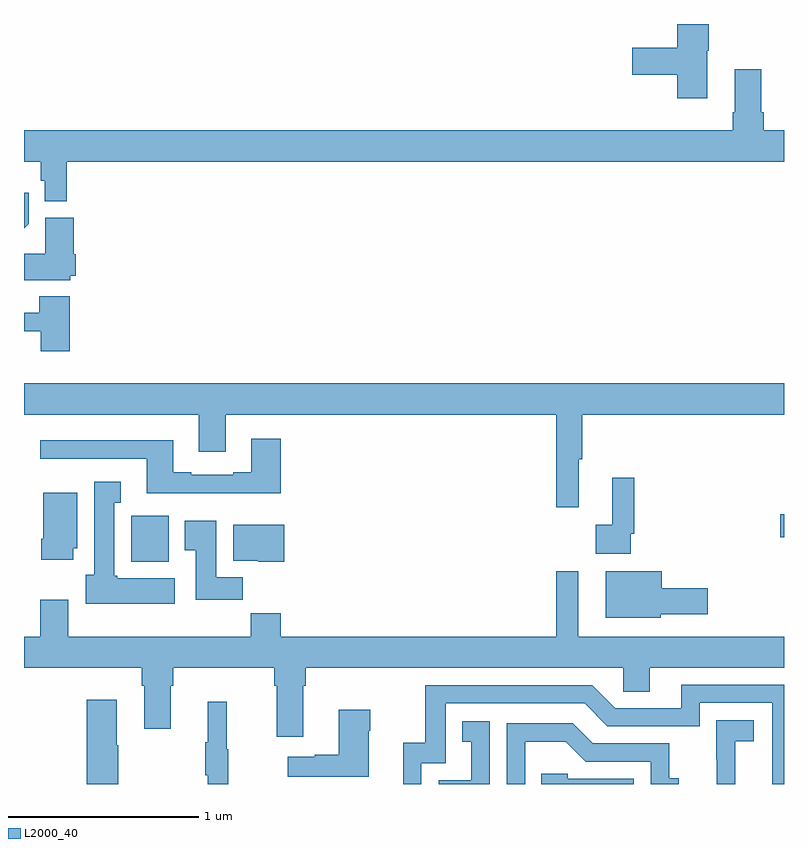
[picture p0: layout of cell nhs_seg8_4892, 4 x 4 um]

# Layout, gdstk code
import gdstk
lib = gdstk.Library(unit=1e-6, precision=1e-09)
def R(c, l, rs):  # rectangles x0, y0, x1, y1
    for r in rs: c.add(gdstk.rectangle(r[:2], r[2:], *l))
def P(c, l, *ps):  # polygons
    for p in ps: c.add(gdstk.Polygon(p, *l))
L2000_40 = (2000, 40)

nhs_seg8_4892 = lib.new_cell('nhs_seg8_4892')
R(nhs_seg8_4892, L2000_40, [(407.564,1105.07,407.761,1105.312), (410.979,1105.199,411,1105.321)])
P(nhs_seg8_4892, L2000_40, [(410.596,1107.759),(410.604,1107.759),(410.604,1107.9),(410.438,1107.9),(410.438,1107.776),(410.202,1107.776),(410.202,1107.634),(410.438,1107.634),(410.438,1107.51),(410.596,1107.51)],
  [(407.225,1107.176),(411,1107.176),(411,1107.34),(410.894,1107.34),(410.894,1107.436),(410.881,1107.436),(410.881,1107.661),(410.741,1107.661),(410.741,1107.436),(410.729,1107.436),(410.729,1107.34),(407,1107.34),(407,1107.176),(407.089,1107.176),(407.089,1107.075),(407.109,1107.075),(407.109,1106.966),(407.225,1106.966)],
  [(407.024,1106.85),(407.024,1107.013),(407,1107.013),(407,1106.826)],
  [(407.244,1106.574),(407.273,1106.574),(407.273,1106.688),(407.261,1106.688),(407.261,1106.881),(407.111,1106.881),(407.111,1106.69),(407,1106.69),(407,1106.552),(407.244,1106.552)],
  [(407.24,1106.467),(407.08,1106.467),(407.08,1106.381),(407,1106.381),(407,1106.283),(407.087,1106.283),(407.087,1106.178),(407.24,1106.178)],
  [(409.919,1105.608),(409.937,1105.608),(409.937,1105.844),(411,1105.844),(411,1106.008),(407,1106.008),(407,1105.844),(407.921,1105.844),(407.921,1105.65),(408.061,1105.65),(408.061,1105.844),(409.801,1105.844),(409.801,1105.356),(409.919,1105.356)],
  [(408.35,1105.717),(408.197,1105.717),(408.197,1105.54),(408.101,1105.54),(408.101,1105.527),(407.881,1105.527),(407.881,1105.54),(407.785,1105.54),(407.785,1105.708),(407.085,1105.708),(407.085,1105.611),(407.645,1105.611),(407.645,1105.43),(408.35,1105.43)],
  [(410.193,1105.216),(410.213,1105.216),(410.213,1105.513),(410.096,1105.513),(410.096,1105.265),(410.01,1105.265),(410.01,1105.112),(410.193,1105.112)],
  [(407.794,1104.982),(407.49,1104.982),(407.49,1104.996),(407.476,1104.996),(407.476,1105.379),(407.509,1105.379),(407.509,1105.492),(407.369,1105.492),(407.369,1105.002),(407.324,1105.002),(407.324,1104.848),(407.794,1104.848)],
  [(407.26,1105.14),(407.281,1105.14),(407.281,1105.432),(407.102,1105.432),(407.102,1105.192),(407.09,1105.192),(407.09,1105.08),(407.26,1105.08)],
  [(408.152,1104.988),(408.013,1104.988),(408.013,1105.285),(407.846,1105.285),(407.846,1105.129),(407.903,1105.129),(407.903,1104.87),(408.152,1104.87)],
  [(408.37,1105.264),(408.101,1105.264),(408.101,1105.076),(408.234,1105.076),(408.234,1105.07),(408.37,1105.07)],
  [(410.352,1104.794),(410.599,1104.794),(410.599,1104.929),(410.356,1104.929),(410.356,1105.021),(410.063,1105.021),(410.063,1104.776),(410.352,1104.776)],
  [(408.469,1104.416),(408.482,1104.416),(408.482,1104.512),(410.154,1104.512),(410.154,1104.385),(410.293,1104.385),(410.293,1104.512),(411,1104.512),(411,1104.676),(409.918,1104.676),(409.918,1105.021),(409.801,1105.021),(409.801,1104.676),(408.35,1104.676),(408.35,1104.8),(408.193,1104.8),(408.193,1104.676),(407.233,1104.676),(407.233,1104.871),(407.086,1104.871),(407.086,1104.676),(407,1104.676),(407,1104.512),(407.621,1104.512),(407.621,1104.416),(407.633,1104.416),(407.633,1104.192),(407.773,1104.192),(407.773,1104.416),(407.786,1104.416),(407.786,1104.512),(408.317,1104.512),(408.317,1104.416),(408.329,1104.416),(408.329,1104.15),(408.469,1104.15)],
  [(409.092,1104.009),(409.221,1104.009),(409.221,1104.324),(409.95,1104.324),(410.07,1104.204),(410.556,1104.204),(410.556,1104.327),(410.937,1104.327),(410.937,1103.9),(411,1103.9),(411,1104.423),(410.459,1104.423),(410.459,1104.3),(410.112,1104.3),(409.992,1104.42),(409.113,1104.42),(409.113,1104.118),(408.995,1104.118),(408.995,1103.9),(409.092,1103.9)],
  [(407.496,1104.104),(407.488,1104.104),(407.488,1104.343),(407.33,1104.343),(407.33,1103.9),(407.496,1103.9)],
  [(408.076,1104.084),(408.068,1104.084),(408.068,1104.334),(407.966,1104.334),(407.966,1104.121),(407.955,1104.121),(407.955,1103.947),(407.966,1103.947),(407.966,1103.9),(408.076,1103.9)],
  [(408.814,1104.179),(408.822,1104.179),(408.822,1104.292),(408.656,1104.292),(408.656,1104.053),(408.53,1104.053),(408.53,1104.043),(408.387,1104.043),(408.387,1103.939),(408.814,1103.939)],
  [(410.744,1104.125),(410.842,1104.125),(410.842,1104.235),(410.644,1104.235),(410.644,1104.029),(410.645,1104.029),(410.645,1103.9),(410.744,1103.9)],
  [(409.452,1104.229),(409.306,1104.229),(409.306,1104.123),(409.355,1104.123),(409.355,1103.919),(409.182,1103.919),(409.182,1103.9),(409.452,1103.9)],
  [(409.638,1104.122),(409.852,1104.122),(409.956,1104.018),(410.298,1104.018),(410.298,1103.9),(410.446,1103.9),(410.446,1103.929),(410.397,1103.929),(410.397,1104.114),(409.993,1104.114),(409.888,1104.219),(409.542,1104.219),(409.542,1103.9),(409.638,1103.9)],
  [(410.208,1103.928),(409.863,1103.928),(409.863,1103.955),(409.723,1103.955),(409.723,1103.9),(410.208,1103.9)])

lib.write_gds('nhs_seg8_4892.gds')
